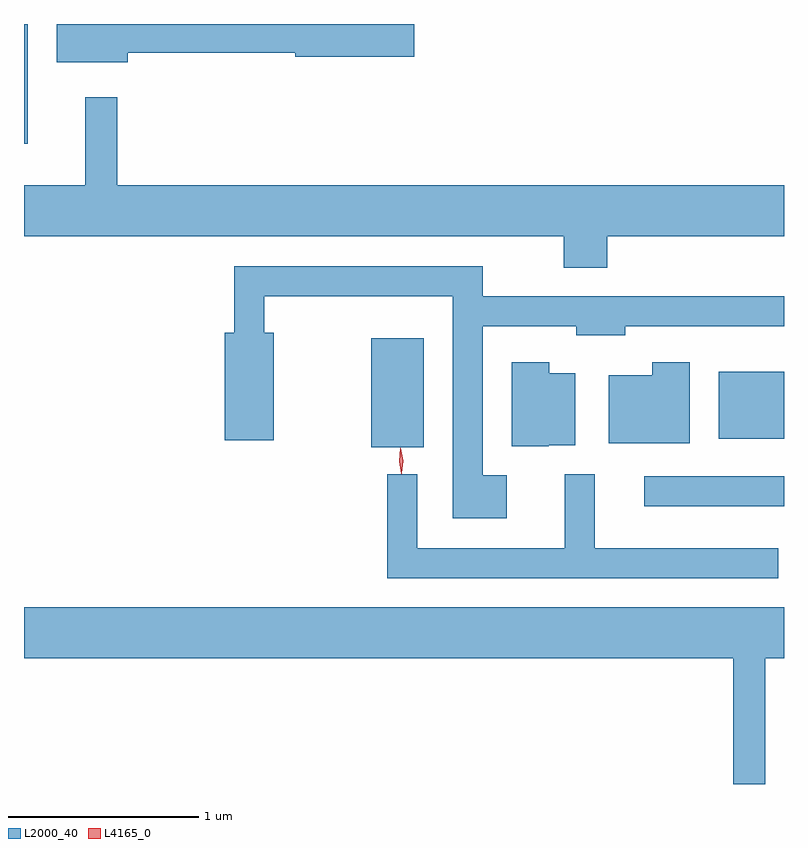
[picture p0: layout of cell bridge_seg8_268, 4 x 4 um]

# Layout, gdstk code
import gdstk
lib = gdstk.Library(unit=1e-6, precision=1e-09)
def R(c, l, rs):  # rectangles x0, y0, x1, y1
    for r in rs: c.add(gdstk.rectangle(r[:2], r[2:], *l))
def P(c, l, *ps):  # polygons
    for p in ps: c.add(gdstk.Polygon(p, *l))
L2000_40 = (2000, 40)
L4165_0 = (4165, 0)

bridge_seg8_268 = lib.new_cell('bridge_seg8_268')
R(bridge_seg8_268, L2000_40, [(1418.493,1870.516,1419.229,1870.674), (1417.056,1870.826,1417.334,1871.399), (1418.886,1870.871,1419.229,1871.224), (1415.229,1872.423,1415.249,1873.053)])
P(bridge_seg8_268, L2000_40, [(1415.774,1872.901),(1416.656,1872.901),(1416.656,1872.881),(1417.284,1872.881),(1417.284,1873.053),(1415.401,1873.053),(1415.401,1872.851),(1415.774,1872.851)],
  [(1418.299,1871.936),(1419.229,1871.936),(1419.229,1872.204),(1415.719,1872.204),(1415.719,1872.668),(1415.551,1872.668),(1415.551,1872.204),(1415.229,1872.204),(1415.229,1871.936),(1418.071,1871.936),(1418.071,1871.771),(1418.299,1871.771)],
  [(1417.769,1870.679),(1417.644,1870.679),(1417.644,1871.461),(1418.136,1871.461),(1418.136,1871.416),(1418.394,1871.416),(1418.394,1871.461),(1419.229,1871.461),(1419.229,1871.619),(1417.644,1871.619),(1417.644,1871.779),(1416.336,1871.779),(1416.336,1871.429),(1416.286,1871.429),(1416.286,1870.861),(1416.544,1870.861),(1416.544,1871.429),(1416.494,1871.429),(1416.494,1871.621),(1417.486,1871.621),(1417.486,1870.451),(1417.769,1870.451)],
  [(1417.99,1870.836),(1418.129,1870.836),(1418.129,1871.214),(1417.994,1871.214),(1417.994,1871.274),(1417.796,1871.274),(1417.796,1870.831),(1417.99,1870.831)],
  [(1418.734,1871.274),(1418.536,1871.274),(1418.536,1871.204),(1418.306,1871.204),(1418.306,1870.846),(1418.734,1870.846)],
  [(1419.198,1870.294),(1418.234,1870.294),(1418.234,1870.683),(1418.076,1870.683),(1418.076,1870.294),(1417.299,1870.294),(1417.299,1870.683),(1417.141,1870.683),(1417.141,1870.136),(1419.198,1870.136)],
  [(1419.129,1869.716),(1419.229,1869.716),(1419.229,1869.984),(1415.229,1869.984),(1415.229,1869.716),(1418.961,1869.716),(1418.961,1869.053),(1419.129,1869.053)])
P(bridge_seg8_268, L4165_0, [(1417.216,1870.684),(1417.215,1870.685),(1417.203,1870.753),(1417.21,1870.821),(1417.21,1870.822),(1417.211,1870.821),(1417.223,1870.753),(1417.216,1870.685)],
  [(1417.215,1870.688),(1417.204,1870.753),(1417.212,1870.819),(1417.212,1870.819),(1417.212,1870.819),(1417.224,1870.754),(1417.216,1870.688),(1417.216,1870.688)])

lib.write_gds('bridge_seg8_268.gds')
